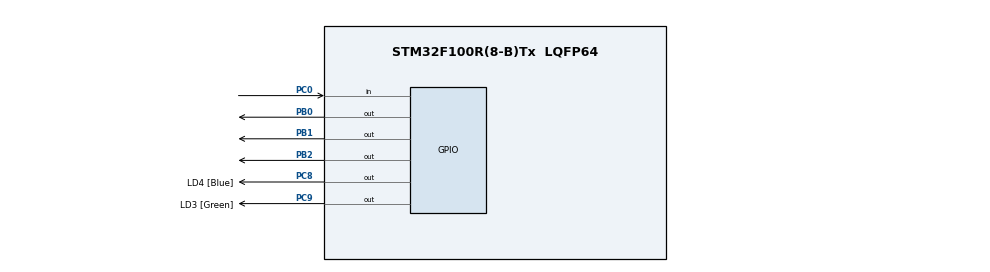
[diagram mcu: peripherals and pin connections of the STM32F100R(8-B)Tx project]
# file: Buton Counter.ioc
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Mcu.Family=STM32F1
Mcu.Name=STM32F100R(8-B)Tx
Mcu.Package=LQFP64
NVIC.PriorityGroup=NVIC_PRIORITYGROUP_4
PA0-WKUP.Mode=SYS_WakeUp0
PA0-WKUP.Signal=SYS_WKUP
PA13.GPIO_Label=TMS_SWDIO
PA13.Mode=Serial_Wire
PA13.Signal=SYS_JTMS-SWDIO
PA14.GPIO_Label=TCK_SWCLK
PA14.Mode=Serial_Wire
PA14.Signal=SYS_JTCK-SWCLK
PB0.GPIO_Speed=GPIO_SPEED_FREQ_HIGH
PB0.Signal=GPIO_Output
PB1.GPIO_Speed=GPIO_SPEED_FREQ_HIGH
PB1.Signal=GPIO_Output
PB2.GPIO_Speed=GPIO_SPEED_FREQ_HIGH
PB2.Signal=GPIO_Output
PC0.GPIO_PuPd=GPIO_PULLDOWN
PC0.Signal=GPIO_Input
PC14-OSC32_IN.Mode=LSE-External-Oscillator
PC14-OSC32_IN.Signal=RCC_OSC32_IN
PC15-OSC32_OUT.Mode=LSE-External-Oscillator
PC15-OSC32_OUT.Signal=RCC_OSC32_OUT
PC8.GPIO_Label=LD4 [Blue]
PC8.Signal=GPIO_Output
PC9.GPIO_Label=LD3 [Green]
PC9.Signal=GPIO_Output
PD0-OSC_IN.Mode=HSE-External-Oscillator
PD0-OSC_IN.Signal=RCC_OSC_IN
PD1-OSC_OUT.Mode=HSE-External-Oscillator
PD1-OSC_OUT.Signal=RCC_OSC_OUT
ProjectManager.HeapSize=0x200
ProjectManager.StackSize=0x400
ProjectManager.TargetToolchain=MDK-ARM V5.27
RCC.APB1Freq_Value=8000000
RCC.APB2Freq_Value=8000000
board=STM32VLDISCOVERY

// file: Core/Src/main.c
/* USER CODE BEGIN Header */
/**
  ******************************************************************************
  * @file           : main.c
  * @brief          : Main program body
  ******************************************************************************
  * @attention
  *
  * Copyright (c) 2022 STMicroelectronics.
  * All rights reserved.
  *
  * This software is licensed under terms that can be found in the LICENSE file
  * in the root directory of this software component.
  * If no LICENSE file comes with this software, it is provided AS-IS.
  *
  ******************************************************************************
  */
/* USER CODE END Header */
#include "main.h"

/* USER CODE BEGIN PV */
	uint16_t buttonstate=0,counter=0;
/* USER CODE END PV */

void SystemClock_Config(void);
static void MX_GPIO_Init(void);

int main(void)
{

  /* MCU Configuration--------------------------------------------------------*/

  /* Reset of all peripherals, Initializes the Flash interface and the Systick. */
  HAL_Init();

  /* Configure the system clock */
  SystemClock_Config();

  /* Initialize all configured peripherals */
  MX_GPIO_Init();

  /* Infinite loop */
  while (1)
  {

    /* USER CODE BEGIN 3 */
		buttonstate=HAL_GPIO_ReadPin(GPIOC,GPIO_PIN_0);

		if(buttonstate){
			HAL_Delay(500);
			counter++;
			if(counter%3==1){
				HAL_GPIO_WritePin(GPIOB,GPIO_PIN_0,GPIO_PIN_RESET);
				HAL_GPIO_WritePin(GPIOB,GPIO_PIN_1,GPIO_PIN_SET);
				HAL_GPIO_WritePin(GPIOB,GPIO_PIN_2,GPIO_PIN_SET);
			}if(counter%3==2){
				HAL_GPIO_WritePin(GPIOB,GPIO_PIN_0,GPIO_PIN_RESET);
				HAL_GPIO_WritePin(GPIOB,GPIO_PIN_1,GPIO_PIN_RESET);
				HAL_GPIO_WritePin(GPIOB,GPIO_PIN_2,GPIO_PIN_SET);
			}if(counter%3==0){
				HAL_GPIO_WritePin(GPIOB,GPIO_PIN_0,GPIO_PIN_SET);
				HAL_GPIO_WritePin(GPIOB,GPIO_PIN_1,GPIO_PIN_RESET);
				HAL_GPIO_WritePin(GPIOB,GPIO_PIN_2,GPIO_PIN_RESET);
			}
		}
  }
  /* USER CODE END 3 */
}

void SystemClock_Config(void)
{
  RCC_OscInitTypeDef RCC_OscInitStruct = {0};
  RCC_ClkInitTypeDef RCC_ClkInitStruct = {0};

  /** Initializes the RCC Oscillators according to the specified parameters
  * in the RCC_OscInitTypeDef structure.
  */
  RCC_OscInitStruct.OscillatorType = RCC_OSCILLATORTYPE_HSI;
  RCC_OscInitStruct.HSIState = RCC_HSI_ON;
  RCC_OscInitStruct.HSICalibrationValue = RCC_HSICALIBRATION_DEFAULT;
  RCC_OscInitStruct.PLL.PLLState = RCC_PLL_NONE;
  if (HAL_RCC_OscConfig(&RCC_OscInitStruct) != HAL_OK)
  {
    Error_Handler();
  }
  /** Initializes the CPU, AHB and APB buses clocks
  */
  RCC_ClkInitStruct.ClockType = RCC_CLOCKTYPE_HCLK|RCC_CLOCKTYPE_SYSCLK
                              |RCC_CLOCKTYPE_PCLK1|RCC_CLOCKTYPE_PCLK2;
  RCC_ClkInitStruct.SYSCLKSource = RCC_SYSCLKSOURCE_HSI;
  RCC_ClkInitStruct.AHBCLKDivider = RCC_SYSCLK_DIV1;
  RCC_ClkInitStruct.APB1CLKDivider = RCC_HCLK_DIV1;
  RCC_ClkInitStruct.APB2CLKDivider = RCC_HCLK_DIV1;

  if (HAL_RCC_ClockConfig(&RCC_ClkInitStruct, FLASH_LATENCY_0) != HAL_OK)
  {
    Error_Handler();
  }
}

static void MX_GPIO_Init(void)
{
  GPIO_InitTypeDef GPIO_InitStruct = {0};

  /* GPIO Ports Clock Enable */
  __HAL_RCC_GPIOC_CLK_ENABLE();
  __HAL_RCC_GPIOD_CLK_ENABLE();
  __HAL_RCC_GPIOA_CLK_ENABLE();
  __HAL_RCC_GPIOB_CLK_ENABLE();

  /*Configure GPIO pin Output Level */
  HAL_GPIO_WritePin(GPIOB, GPIO_PIN_0|GPIO_PIN_1|GPIO_PIN_2, GPIO_PIN_RESET);

  /*Configure GPIO pin Output Level */
  HAL_GPIO_WritePin(GPIOC, LD4_Pin|LD3_Pin, GPIO_PIN_RESET);

  /*Configure GPIO pin : PC0 */
  GPIO_InitStruct.Pin = GPIO_PIN_0;
  GPIO_InitStruct.Mode = GPIO_MODE_INPUT;
  GPIO_InitStruct.Pull = GPIO_PULLDOWN;
  HAL_GPIO_Init(GPIOC, &GPIO_InitStruct);

  /*Configure GPIO pins : PB0 PB1 PB2 */
  GPIO_InitStruct.Pin = GPIO_PIN_0|GPIO_PIN_1|GPIO_PIN_2;
  GPIO_InitStruct.Mode = GPIO_MODE_OUTPUT_PP;
  GPIO_InitStruct.Pull = GPIO_NOPULL;
  GPIO_InitStruct.Speed = GPIO_SPEED_FREQ_HIGH;
  HAL_GPIO_Init(GPIOB, &GPIO_InitStruct);

  /*Configure GPIO pins : LD4_Pin LD3_Pin */
  GPIO_InitStruct.Pin = LD4_Pin|LD3_Pin;
  GPIO_InitStruct.Mode = GPIO_MODE_OUTPUT_PP;
  GPIO_InitStruct.Pull = GPIO_NOPULL;
  GPIO_InitStruct.Speed = GPIO_SPEED_FREQ_LOW;
  HAL_GPIO_Init(GPIOC, &GPIO_InitStruct);

}

void Error_Handler(void)
{
  __disable_irq();
  while (1)
  {
  }
}
